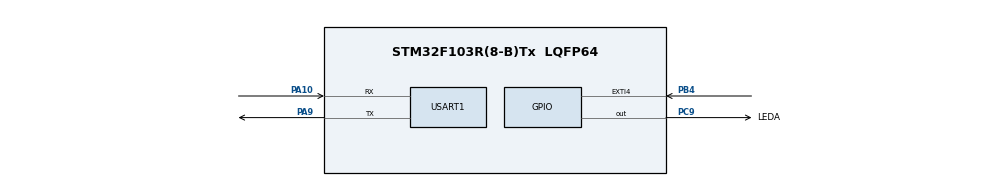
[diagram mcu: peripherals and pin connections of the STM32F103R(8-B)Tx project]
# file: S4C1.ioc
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Mcu.Family=STM32F1
Mcu.Name=STM32F103R(8-B)Tx
Mcu.Package=LQFP64
NVIC.EXTI4_IRQn=true\:0\:0\:false
NVIC.PriorityGroup=NVIC_PRIORITYGROUP_4
NVIC.USART1_IRQn=true\:0\:0\:false
PA10.Mode=Asynchronous
PA10.Signal=USART1_RX
PA13.Mode=Serial_Wire
PA13.Signal=SYS_JTMS-SWDIO
PA14.Mode=Serial_Wire
PA14.Signal=SYS_JTCK-SWCLK
PA9.Mode=Asynchronous
PA9.Signal=USART1_TX
PB4.GPIO_ModeDefaultEXTI=GPIO_MODE_IT_RISING
PB4.Signal=GPXTI4
PC9.GPIO_Label=LEDA
PC9.Signal=GPIO_Output
ProjectManager.TargetToolchain=SW4STM32
RCC.APB1Freq_Value=8000000
RCC.APB2Freq_Value=8000000
board=S4C1

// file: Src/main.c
/**
  ******************************************************************************
  * File Name          : main.c
  * Description        : Main program body
  ******************************************************************************
  *
  * COPYRIGHT(c) 2016 STMicroelectronics
  *
  * Redistribution and use in source and binary forms, with or without modification,
  * are permitted provided that the following conditions are met:
  *   1. Redistributions of source code must retain the above copyright notice,
  *      this list of conditions and the following disclaimer.
  *   2. Redistributions in binary form must reproduce the above copyright notice,
  *      this list of conditions and the following disclaimer in the documentation
  *      and/or other materials provided with the distribution.
  *   3. Neither the name of STMicroelectronics nor the names of its contributors
  *      may be used to endorse or promote products derived from this software
  *      without specific prior written permission.
  *
  * THIS SOFTWARE IS PROVIDED BY THE COPYRIGHT HOLDERS AND CONTRIBUTORS "AS IS"
  * AND ANY EXPRESS OR IMPLIED WARRANTIES, INCLUDING, BUT NOT LIMITED TO, THE
  * IMPLIED WARRANTIES OF MERCHANTABILITY AND FITNESS FOR A PARTICULAR PURPOSE ARE
  * DISCLAIMED. IN NO EVENT SHALL THE COPYRIGHT HOLDER OR CONTRIBUTORS BE LIABLE
  * FOR ANY DIRECT, INDIRECT, INCIDENTAL, SPECIAL, EXEMPLARY, OR CONSEQUENTIAL
  * DAMAGES (INCLUDING, BUT NOT LIMITED TO, PROCUREMENT OF SUBSTITUTE GOODS OR
  * SERVICES; LOSS OF USE, DATA, OR PROFITS; OR BUSINESS INTERRUPTION) HOWEVER
  * CAUSED AND ON ANY THEORY OF LIABILITY, WHETHER IN CONTRACT, STRICT LIABILITY,
  * OR TORT (INCLUDING NEGLIGENCE OR OTHERWISE) ARISING IN ANY WAY OUT OF THE USE
  * OF THIS SOFTWARE, EVEN IF ADVISED OF THE POSSIBILITY OF SUCH DAMAGE.
  *
  ******************************************************************************
  */
#include "stm32f1xx_hal.h"
#include "usart.h"
#include "gpio.h"

/* USER CODE BEGIN Includes */
#include "string.h"
/* USER CODE END Includes */

/* USER CODE BEGIN PV */
/* Private variables ---------------------------------------------------------*/
uint8_t RXChar = 0;
uint8_t UARTRX[20];
uint8_t RXIndex = 0;
/* USER CODE END PV */

void SystemClock_Config(void);

/* USER CODE BEGIN PFP */
/* Private function prototypes -----------------------------------------------*/

/* USER CODE END PFP */

int main(void)
{

  /* MCU Configuration----------------------------------------------------------*/

  /* Reset of all peripherals, Initializes the Flash interface and the Systick. */
  HAL_Init();

  /* Configure the system clock */
  SystemClock_Config();

  /* Initialize all configured peripherals */
  MX_GPIO_Init();
  MX_USART1_UART_Init();

  /* USER CODE BEGIN 2 */
  HAL_UART_Receive_IT(&huart1,&RXChar,1);
  /* USER CODE END 2 */

  /* Infinite loop */
  while (1)
  {

  /* USER CODE BEGIN 3 */
	  HAL_UART_Transmit(&huart1,"Class\r\n",sizeof("Class\r\n"),100);
	  HAL_Delay(10);

  }
  /* USER CODE END 3 */

}

/** System Clock Configuration
*/
void SystemClock_Config(void)
{

  RCC_OscInitTypeDef RCC_OscInitStruct;
  RCC_ClkInitTypeDef RCC_ClkInitStruct;

  RCC_OscInitStruct.OscillatorType = RCC_OSCILLATORTYPE_HSI;
  RCC_OscInitStruct.HSIState = RCC_HSI_ON;
  RCC_OscInitStruct.HSICalibrationValue = 16;
  RCC_OscInitStruct.PLL.PLLState = RCC_PLL_NONE;
  HAL_RCC_OscConfig(&RCC_OscInitStruct);

  RCC_ClkInitStruct.ClockType = RCC_CLOCKTYPE_SYSCLK;
  RCC_ClkInitStruct.SYSCLKSource = RCC_SYSCLKSOURCE_HSI;
  RCC_ClkInitStruct.AHBCLKDivider = RCC_SYSCLK_DIV1;
  RCC_ClkInitStruct.APB1CLKDivider = RCC_HCLK_DIV1;
  RCC_ClkInitStruct.APB2CLKDivider = RCC_HCLK_DIV1;
  HAL_RCC_ClockConfig(&RCC_ClkInitStruct, FLASH_LATENCY_0);

  HAL_SYSTICK_Config(HAL_RCC_GetHCLKFreq()/1000);

  HAL_SYSTICK_CLKSourceConfig(SYSTICK_CLKSOURCE_HCLK);

  /* SysTick_IRQn interrupt configuration */
  HAL_NVIC_SetPriority(SysTick_IRQn, 0, 0);
}

/* USER CODE BEGIN 4 */
void HAL_UART_RxCpltCallback(UART_HandleTypeDef *huart){

	if(RXChar == "#")
	{
		if(strcmp(UARTRX,"LEDON") == 0)
		{
			//LED ON
		}
		else if(strcmp(UARTRX,"LEDOFF") == 0)
		{
			//LED OFF
		}
	}
	else
	{
		UARTRX[RXIndex] = RXChar;
		RXIndex++;
	}
}
//GPIO_PIN_4
void          HAL_GPIO_EXTI_Callback(uint16_t GPIO_Pin)
{
	if(GPIO_Pin == GPIO_PIN_4)
	{
		// GPIO EXT
	}
}
/* USER CODE END 4 */

/************************ (C) COPYRIGHT STMicroelectronics *****END OF FILE****/
